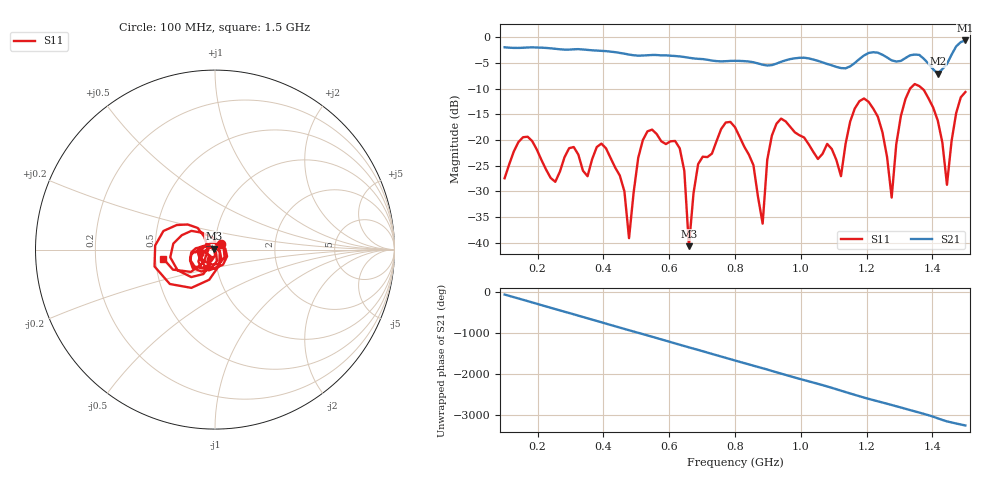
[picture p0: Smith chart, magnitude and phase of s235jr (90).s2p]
! NanoVNA-App
! Date: 2025-09-25 15:04:52
! Start: 100MHz Stop: 1,5GHz Points: 101
! S-Parameter data: F S11 S21 S12 S22
# Hz S RI R 50
!  Frequency  S11_Real  S11_Imag  S21_Real  S21_Imag  S12_Real  S12_Imag  S22_Real  S22_Imag
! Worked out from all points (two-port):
!   101 points, 100 MHz to 1.5 GHz, reference 50 ohm
!   highest |S21| = -0.63 dB at 1.5 GHz (marker M1); lowest = -7.1 dB at 1.416 GHz (marker M2)
!   |S21| within 3 dB of the highest: start of sweep to 609.9 MHz; 1.19 GHz to 1.254 GHz (63.18 MHz wide, 5.17 % of centre) (the widest 2 of 4)
!   lowest |S11| = -40.7 dB at 660 MHz (marker M3), VSWR 1.02, Z = 49.3 + j0.588 ohm
!   |S11| at or under -10 dB: start of sweep to 1.332 GHz; 1.369 GHz to end of sweep
!   S12 and S22 are empty: the file has one direction only
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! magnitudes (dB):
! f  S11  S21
! 100 MHz  -27.5  -2.0
! 170 MHz  -19.4  -2.0
! 338 MHz  -26.0  -2.4
! 408 MHz  -21.6  -2.7
! 478 MHz  -39.2  -3.4
! 520 MHz  -20.1  -3.6
! 576 MHz  -20.3  -3.5
! 632 MHz  -21.6  -3.7
! 660 MHz  -40.7  -4.0
! 688 MHz  -24.7  -4.2
! 800 MHz  -17.5  -4.6
! 884 MHz  -36.3  -5.4
! 926 MHz  -16.9  -5.1
! 1.038 GHz  -22.4  -4.3
! 1.122 GHz  -27.1  -6.0
! 1.192 GHz  -11.9  -3.6
! 1.248 GHz  -18.5  -3.4
! 1.276 GHz  -31.2  -4.5
! 1.332 GHz  -10.0  -3.5
! 1.416 GHz  -16.2  -7.1
! 1.444 GHz  -28.8  -5.2
! 1.5 GHz  -10.7  -0.6
